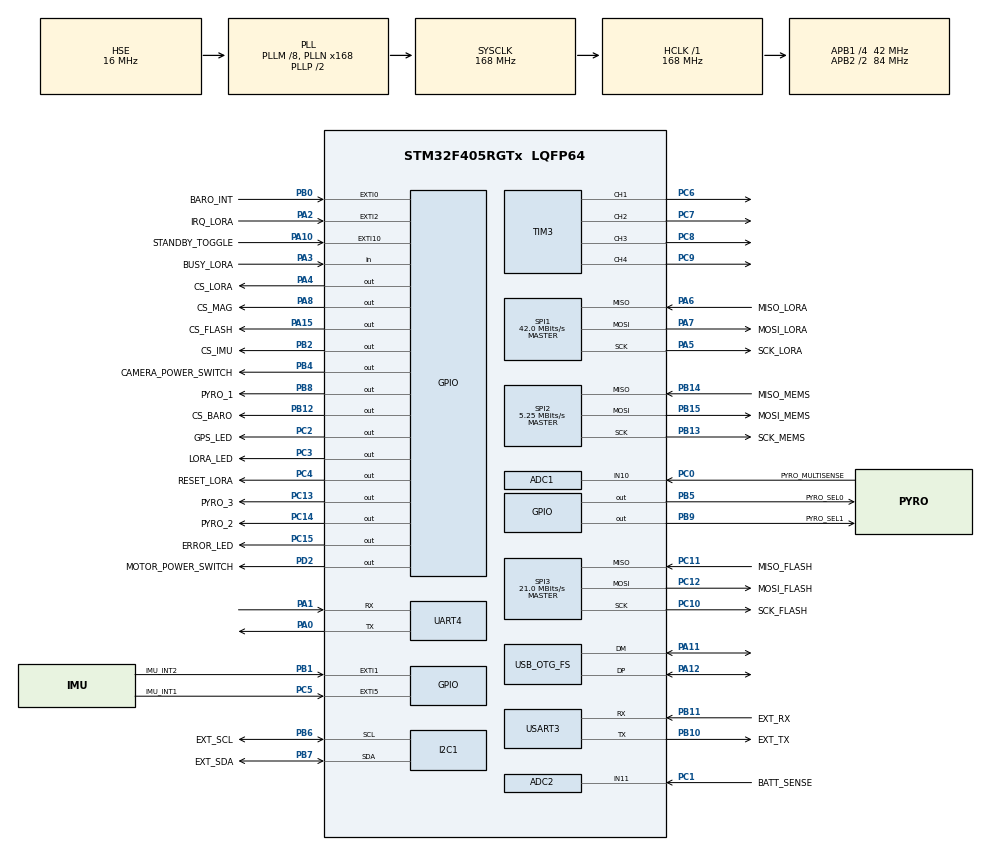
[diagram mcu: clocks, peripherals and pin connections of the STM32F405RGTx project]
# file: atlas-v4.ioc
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ADC1.Channel-0\#ChannelRegularConversion=ADC_CHANNEL_10
ADC1.NbrOfConversionFlag=1
ADC1.Rank-0\#ChannelRegularConversion=1
ADC1.SamplingTime-0\#ChannelRegularConversion=ADC_SAMPLETIME_3CYCLES
ADC1.master=1
ADC2.Channel-0\#ChannelRegularConversion=ADC_CHANNEL_11
ADC2.NbrOfConversionFlag=1
ADC2.Rank-0\#ChannelRegularConversion=1
ADC2.SamplingTime-0\#ChannelRegularConversion=ADC_SAMPLETIME_3CYCLES
Mcu.Family=STM32F4
Mcu.Name=STM32F405RGTx
Mcu.Package=LQFP64
NVIC.EXTI0_IRQn=true\:2\:0\:true\:false\:true\:true\:true\:true
NVIC.EXTI15_10_IRQn=true\:7\:0\:true\:false\:true\:true\:true\:true
NVIC.EXTI1_IRQn=true\:3\:0\:true\:false\:true\:true\:true\:true
NVIC.EXTI2_IRQn=true\:6\:0\:true\:false\:true\:true\:true\:true
NVIC.EXTI9_5_IRQn=true\:2\:0\:true\:false\:true\:true\:true\:true
NVIC.OTG_FS_IRQn=true\:10\:0\:true\:false\:true\:false\:true\:true
NVIC.PriorityGroup=NVIC_PRIORITYGROUP_4
NVIC.UART4_IRQn=true\:4\:0\:true\:false\:true\:true\:true\:true
PA0-WKUP.Mode=Asynchronous
PA0-WKUP.Signal=UART4_TX
PA1.Mode=Asynchronous
PA1.Signal=UART4_RX
PA10.GPIO_Label=STANDBY_TOGGLE
PA10.Signal=GPXTI10
PA11.Mode=Device_Only
PA11.Signal=USB_OTG_FS_DM
PA12.Mode=Device_Only
PA12.Signal=USB_OTG_FS_DP
PA13.Mode=Trace_Asynchronous_SW
PA13.Signal=SYS_JTMS-SWDIO
PA14.Mode=Trace_Asynchronous_SW
PA14.Signal=SYS_JTCK-SWCLK
PA15.GPIO_Label=CS_FLASH
PA15.PinState=GPIO_PIN_SET
PA15.Signal=GPIO_Output
PA2.GPIO_Label=IRQ_LORA
PA2.Signal=GPXTI2
PA3.GPIO_Label=BUSY_LORA
PA3.GPIO_PuPd=GPIO_NOPULL
PA3.Signal=GPIO_Input
PA4.GPIO_Label=CS_LORA
PA4.PinState=GPIO_PIN_SET
PA4.Signal=GPIO_Output
PA5.GPIO_Label=SCK_LORA
PA5.Mode=Full_Duplex_Master
PA5.Signal=SPI1_SCK
PA6.GPIO_Label=MISO_LORA
PA6.Mode=Full_Duplex_Master
PA6.Signal=SPI1_MISO
PA7.GPIO_Label=MOSI_LORA
PA7.Mode=Full_Duplex_Master
PA7.Signal=SPI1_MOSI
PA8.GPIO_Label=CS_MAG
PA8.PinState=GPIO_PIN_SET
PA8.Signal=GPIO_Output
PB0.GPIO_Label=BARO_INT
PB0.Signal=GPXTI0
PB1.GPIO_Label=IMU_INT2
PB1.Signal=GPXTI1
PB10.GPIO_Label=EXT_TX
PB10.Mode=Asynchronous
PB10.Signal=USART3_TX
PB11.GPIO_Label=EXT_RX
PB11.Mode=Asynchronous
PB11.Signal=USART3_RX
PB12.GPIO_Label=CS_BARO
PB12.PinState=GPIO_PIN_SET
PB12.Signal=GPIO_Output
PB13.GPIO_Label=SCK_MEMS
PB13.Mode=Full_Duplex_Master
PB13.Signal=SPI2_SCK
PB14.GPIO_Label=MISO_MEMS
PB14.Mode=Full_Duplex_Master
PB14.Signal=SPI2_MISO
PB15.GPIO_Label=MOSI_MEMS
PB15.Mode=Full_Duplex_Master
PB15.Signal=SPI2_MOSI
PB2.GPIO_Label=CS_IMU
PB2.PinState=GPIO_PIN_SET
PB2.Signal=GPIO_Output
PB3.Mode=Trace_Asynchronous_SW
PB3.Signal=SYS_JTDO-SWO
PB4.GPIO_Label=CAMERA_POWER_SWITCH
PB4.Signal=GPIO_Output
PB5.GPIO_Label=PYRO_SEL0
PB5.Signal=GPIO_Output
PB6.GPIO_Label=EXT_SCL
PB6.Mode=I2C
PB6.Signal=I2C1_SCL
PB7.GPIO_Label=EXT_SDA
PB7.Mode=I2C
PB7.Signal=I2C1_SDA
PB8.GPIO_Label=PYRO_1
PB8.Signal=GPIO_Output
PB9.GPIO_Label=PYRO_SEL1
PB9.Signal=GPIO_Output
PC0.GPIO_Label=PYRO_MULTISENSE
PC0.Signal=ADCx_IN10
PC1.GPIO_Label=BATT_SENSE
PC1.Signal=ADCx_IN11
PC10.GPIO_Label=SCK_FLASH
PC10.Mode=Full_Duplex_Master
PC10.Signal=SPI3_SCK
PC11.GPIO_Label=MISO_FLASH
PC11.Mode=Full_Duplex_Master
PC11.Signal=SPI3_MISO
PC12.GPIO_Label=MOSI_FLASH
PC12.Mode=Full_Duplex_Master
PC12.Signal=SPI3_MOSI
PC13-ANTI_TAMP.GPIO_Label=PYRO_3
PC13-ANTI_TAMP.Signal=GPIO_Output
PC14-OSC32_IN.GPIO_Label=PYRO_2
PC14-OSC32_IN.Signal=GPIO_Output
PC15-OSC32_OUT.GPIO_Label=ERROR_LED
PC15-OSC32_OUT.Signal=GPIO_Output
PC2.GPIO_Label=GPS_LED
PC2.Signal=GPIO_Output
PC3.GPIO_Label=LORA_LED
PC3.Signal=GPIO_Output
PC4.GPIO_Label=RESET_LORA
PC4.PinState=GPIO_PIN_SET
PC4.Signal=GPIO_Output
PC5.GPIO_Label=IMU_INT1
PC5.Signal=GPXTI5
PC6.Signal=S_TIM3_CH1
PC7.Signal=S_TIM3_CH2
PC8.Signal=S_TIM3_CH3
PC9.Signal=S_TIM3_CH4
PD2.GPIO_Label=MOTOR_POWER_SWITCH
PD2.Signal=GPIO_Output
PH0-OSC_IN.Mode=HSE-External-Oscillator
PH0-OSC_IN.Signal=RCC_OSC_IN
PH1-OSC_OUT.Mode=HSE-External-Oscillator
PH1-OSC_OUT.Signal=RCC_OSC_OUT
ProjectManager.HeapSize=0x800
ProjectManager.StackSize=0x1000
ProjectManager.TargetToolchain=CMake
RCC.48MHZClocksFreq_Value=48000000
RCC.AHBFreq_Value=168000000
RCC.APB1CLKDivider=RCC_HCLK_DIV4
RCC.APB1Freq_Value=42000000
RCC.APB1TimFreq_Value=84000000
RCC.APB2CLKDivider=RCC_HCLK_DIV2
RCC.APB2Freq_Value=84000000
RCC.APB2TimFreq_Value=168000000
RCC.CortexFreq_Value=168000000
RCC.EnbaleCSS=true
RCC.HCLKFreq_Value=168000000
RCC.HSE_VALUE=16000000
RCC.HSI_VALUE=16000000
RCC.LSE_VALUE=32768
RCC.PLLM=8
RCC.PLLN=168
RCC.PLLQ=7
RCC.SYSCLKFreq_VALUE=168000000
RCC.SYSCLKSource=RCC_SYSCLKSOURCE_PLLCLK
RCC.VCOOutputFreq_Value=336000000
SH.ADCx_IN10.0=ADC1_IN10,IN10
SH.ADCx_IN11.0=ADC2_IN11,IN11
SH.S_TIM3_CH1.0=TIM3_CH1,PWM Generation1 CH1
SH.S_TIM3_CH2.0=TIM3_CH2,PWM Generation2 CH2
SH.S_TIM3_CH3.0=TIM3_CH3,PWM Generation3 CH3
SH.S_TIM3_CH4.0=TIM3_CH4,PWM Generation4 CH4
SPI1.CalculateBaudRate=42.0 MBits/s
SPI1.Direction=SPI_DIRECTION_2LINES
SPI1.Mode=SPI_MODE_MASTER
SPI1.VirtualType=VM_MASTER
SPI2.BaudRatePrescaler=SPI_BAUDRATEPRESCALER_8
SPI2.CalculateBaudRate=5.25 MBits/s
SPI2.Direction=SPI_DIRECTION_2LINES
SPI2.Mode=SPI_MODE_MASTER
SPI2.VirtualType=VM_MASTER
SPI3.BaudRatePrescaler=SPI_BAUDRATEPRESCALER_2
SPI3.CalculateBaudRate=21.0 MBits/s
SPI3.Direction=SPI_DIRECTION_2LINES
SPI3.Mode=SPI_MODE_MASTER
SPI3.VirtualType=VM_MASTER
TIM3.Channel-PWM\ Generation1\ CH1=TIM_CHANNEL_1
TIM3.Channel-PWM\ Generation2\ CH2=TIM_CHANNEL_2
TIM3.Channel-PWM\ Generation3\ CH3=TIM_CHANNEL_3
TIM3.Channel-PWM\ Generation4\ CH4=TIM_CHANNEL_4
UART4.VirtualMode=Asynchronous
USART3.VirtualMode=VM_ASYNC
USB_DEVICE.CLASS_NAME_FS=CDC
USB_DEVICE.VirtualMode-CDC_FS=Cdc
USB_DEVICE.VirtualModeFS=Cdc_FS
USB_OTG_FS.VirtualMode=Device_Only
VP_USB_DEVICE_VS_USB_DEVICE_CDC_FS.Mode=CDC_FS
board=custom

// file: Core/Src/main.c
/* USER CODE BEGIN Header */
/**
  ******************************************************************************
  * @file           : main.c
  * @brief          : Main program body
  ******************************************************************************
  * @attention
  *
  * Copyright (c) 2026 STMicroelectronics.
  * All rights reserved.
  *
  * This software is licensed under terms that can be found in the LICENSE file
  * in the root directory of this software component.
  * If no LICENSE file comes with this software, it is provided AS-IS.
  *
  ******************************************************************************
  */
/* USER CODE END Header */
#include "main.h"
#include "adc.h"
#include "i2c.h"
#include "spi.h"
#include "tim.h"
#include "usart.h"
#include "usb_device.h"
#include "gpio.h"

/* USER CODE BEGIN Includes */
#include <stdio.h>
#include "usbd_cdc_if.h"
#include "devices.h"
#include "imu.h"
#include "baro.h"
#include "gps.h"
#include "sd_spi.h"
#include "app_time.h"
#include "log_service.h"
#include "dump.h"
#include "radio.h"
#include "telemetry.h"
#include "telemetry_sources.h"
#include "gps_beacon.h"
#include "usb_stream.h"

/* USER CODE END Includes */

/* USER CODE BEGIN PV */
static imu_raw_t     imu;
static baro_sample_t baro;
static sd_info_t     sdi;
static dev_err_t     st_imu, st_baro, st_sd, st_log, st_radio = DEV_NO_DATA;
static uint32_t      last_hb, last_print, last_status;
static int           st_gps;
static tlm_t         tlm;

#define ATLAS_SOURCE_ID 1

/* USER CODE END PV */

void SystemClock_Config(void);

int main(void)
{

  /* MCU Configuration--------------------------------------------------------*/

  /* Reset of all peripherals, Initializes the Flash interface and the Systick. */
  HAL_Init();

  /* Configure the system clock */
  SystemClock_Config();

  /* Initialize all configured peripherals */
  MX_GPIO_Init();
  MX_SPI1_Init();
  MX_SPI2_Init();
  MX_SPI3_Init();
  MX_UART4_Init();
  MX_USB_DEVICE_Init();
  MX_USART3_UART_Init();
  MX_I2C1_Init();
  MX_TIM3_Init();
  MX_ADC1_Init();
  MX_ADC2_Init();
  /* USER CODE BEGIN 2 */

  devices_cs_idle();      /* deselect every SPI2 device before any traffic */
  HAL_Delay(20);          /* let the sensors finish power-up */
  time_init();            /* initialize the time service */
  dump_init();             /* initialize the dump service */
  usb_stream_init();       /* live-viewer text stream over USB CDC (see app/usb_stream.h) */
  st_imu  = imu_init();
  st_baro = baro_init();
  st_sd = sd_init(&sdi);
  if (st_sd == DEV_OK)
  {
    st_log = log_service_init(&sdi);
  }
  st_radio = radio_init();
  tlm_init(&tlm, ATLAS_SOURCE_ID, 1000u);
  telemetry_sources_init(&tlm);
  st_gps = gps_init();                 /* takes up to a second or two */
     log_gps_cfg((uint32_t)gps_cfg_baud_found(),
                  GPS_TARGET_BAUD,
                  GPS_MEAS_PERIOD_MS,
                  (int8_t)st_gps,
                  GPS_DYNMODEL,
                  GPS_GPS_ONLY);

  /* USER CODE END 2 */

  /* Infinite loop */
  while (1)
  {

    /* USER CODE BEGIN 3 */
    uint32_t now = HAL_GetTick();

    uint32_t pxl = imu.n_xl, phg = imu.n_hg, pgy = imu.n_gy;
    if (imu_poll(&imu) == DEV_OK) {
      uint8_t fl = (uint8_t)((imu.n_xl != pxl) | ((imu.n_hg != phg) << 1) | ((imu.n_gy != pgy) << 2));
      log_imu(&imu, fl);
      if (usb_stream_active()) usb_stream_imu(time_us(), &imu);
    }
    if (baro_poll(&baro) == DEV_OK) {
      log_baro(&baro);
      if (usb_stream_active()) usb_stream_baro(time_us(), &baro);
    }

    if (now - last_status >= 1000u) { last_status = now; log_status(); }

    gps_process();
     { const uint8_t *pvt; if (gps_pop_pvt(&pvt)) { log_gps(pvt); if (usb_stream_active()) usb_stream_gps(time_us(), gps_last()); } }
    gps_led_poll(now);

    radio_poll(now);
    /*
    if (!radio_busy()) {
      uint8_t pkt[48];
      size_t plen = tlm_build(&tlm, now, pkt, sizeof pkt);
      if (plen) (void)radio_send(pkt, plen);
    }
    */
    gps_beacon_poll(now);

    log_service_poll();
    dump_poll();
    usb_stream_poll();       /* after dump_poll(): the dump protocol has priority on the port */

    if (now - last_hb >= 500u) {
      last_hb = now;
      HAL_GPIO_TogglePin(ERROR_LED_GPIO_Port, ERROR_LED_Pin);
    }

    if (!dump_quiet() && now - last_print >= 200u) {
      last_print = now;
      const log_stats_t *ls = log_stats();
      static char line[360];
      int n = snprintf(line, sizeof line,
          "IMU:%s xl[mg]=%d,%d,%d gy[mdps]=%d,%d,%d | BARO:%s %ld Pa | SD:%s LOG:%s "
          "sess=%lu next=%lu wr=%lu drop=%lu q=%lu/%lu err=%lu | "
          "GPS:%s%s fix=%u sv=%u pvt=%lu rxerr=%lu | "
          "RADIO:%s(%d) tx=%lu fail=%lu air=%lums | "
          "USB:%s ln=%lu drop=%lu flush=%lu\r\n",
          dev_err_str(st_imu),
          (int)imu_xl_mg(imu.xl_raw[0]), (int)imu_xl_mg(imu.xl_raw[1]), (int)imu_xl_mg(imu.xl_raw[2]),
          (int)imu_gy_mdps(imu.gy_raw[0]), (int)imu_gy_mdps(imu.gy_raw[1]), (int)imu_gy_mdps(imu.gy_raw[2]),
          dev_err_str(st_baro), (long)(baro.pressure_hpa * 100.0f),
          dev_err_str(st_sd), ls->paused ? "PAUSED" : (st_log == DEV_NO_DATA ? "-" : dev_err_str(st_log)),
          (unsigned long)ls->session, (unsigned long)ls->next_sector, (unsigned long)ls->blocks_written,
          (unsigned long)ls->blocks_dropped, (unsigned long)ls->queue, (unsigned long)ls->max_queue,
          (unsigned long)ls->sd_errors,
          gps_cfg_str(st_gps), gps_irq_stalled() ? "(NO-IRQ)" : "",
          gps_last()->fix_type, gps_last()->num_sv,
          (unsigned long)gps_pvt_count(), (unsigned long)gps_error_count(),
          radio_status_text(), (int)radio_stats()->init_state, (unsigned long)radio_stats()->tx_ok,
          (unsigned long)(radio_stats()->tx_fail + radio_stats()->tx_timeout),
          (unsigned long)(radio_stats()->last_airtime_us / 1000u),
          usb_stream_active() ? "OK" : "IDLE",
          (unsigned long)usb_stream_stats()->lines, (unsigned long)usb_stream_stats()->lines_dropped,
          (unsigned long)usb_stream_stats()->bytes_flushed);
      if (n > 0)
        usb_stream_text(line, n < (int)sizeof line ? n : (int)sizeof line - 1);
    }

  }
  /* USER CODE END 3 */
}

void SystemClock_Config(void)
{
  RCC_OscInitTypeDef RCC_OscInitStruct = {0};
  RCC_ClkInitTypeDef RCC_ClkInitStruct = {0};

  /** Configure the main internal regulator output voltage
  */
  __HAL_RCC_PWR_CLK_ENABLE();
  __HAL_PWR_VOLTAGESCALING_CONFIG(PWR_REGULATOR_VOLTAGE_SCALE1);

  /** Initializes the RCC Oscillators according to the specified parameters
  * in the RCC_OscInitTypeDef structure.
  */
  RCC_OscInitStruct.OscillatorType = RCC_OSCILLATORTYPE_HSE;
  RCC_OscInitStruct.HSEState = RCC_HSE_ON;
  RCC_OscInitStruct.PLL.PLLState = RCC_PLL_ON;
  RCC_OscInitStruct.PLL.PLLSource = RCC_PLLSOURCE_HSE;
  RCC_OscInitStruct.PLL.PLLM = 8;
  RCC_OscInitStruct.PLL.PLLN = 168;
  RCC_OscInitStruct.PLL.PLLP = RCC_PLLP_DIV2;
  RCC_OscInitStruct.PLL.PLLQ = 7;
  if (HAL_RCC_OscConfig(&RCC_OscInitStruct) != HAL_OK)
  {
    Error_Handler();
  }

  /** Initializes the CPU, AHB and APB buses clocks
  */
  RCC_ClkInitStruct.ClockType = RCC_CLOCKTYPE_HCLK|RCC_CLOCKTYPE_SYSCLK
                              |RCC_CLOCKTYPE_PCLK1|RCC_CLOCKTYPE_PCLK2;
  RCC_ClkInitStruct.SYSCLKSource = RCC_SYSCLKSOURCE_PLLCLK;
  RCC_ClkInitStruct.AHBCLKDivider = RCC_SYSCLK_DIV1;
  RCC_ClkInitStruct.APB1CLKDivider = RCC_HCLK_DIV4;
  RCC_ClkInitStruct.APB2CLKDivider = RCC_HCLK_DIV2;

  if (HAL_RCC_ClockConfig(&RCC_ClkInitStruct, FLASH_LATENCY_5) != HAL_OK)
  {
    Error_Handler();
  }

  /** Enables the Clock Security System
  */
  HAL_RCC_EnableCSS();
}

void Error_Handler(void)
{
  __disable_irq();
  while (1)
  {
  }
}
